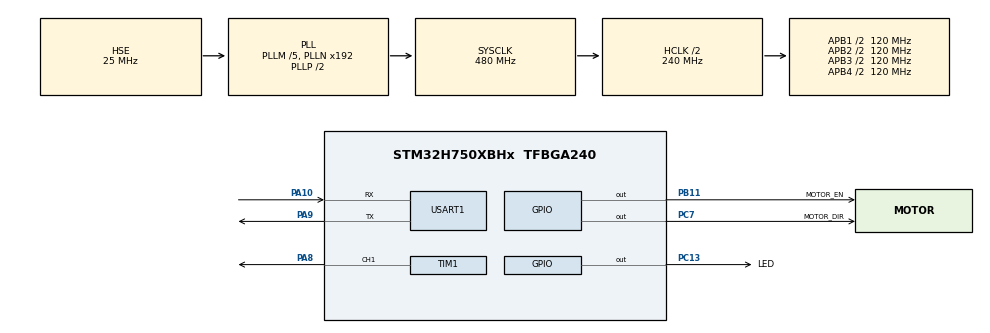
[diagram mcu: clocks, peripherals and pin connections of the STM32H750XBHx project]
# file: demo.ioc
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CORTEX_M7.default_mode_Activation=1
Mcu.Family=STM32H7
Mcu.Name=STM32H750XBHx
Mcu.Package=TFBGA240
NVIC.PriorityGroup=NVIC_PRIORITYGROUP_4
NVIC.TIM1_CC_IRQn=true\:0\:0\:false\:false\:true\:true\:true\:true
PA10.Mode=Asynchronous
PA10.Signal=USART1_RX
PA13\ (JTMS/SWDIO).Mode=Serial_Wire
PA13\ (JTMS/SWDIO).Signal=DEBUG_JTMS-SWDIO
PA14\ (JTCK/SWCLK).Mode=Serial_Wire
PA14\ (JTCK/SWCLK).Signal=DEBUG_JTCK-SWCLK
PA8.Signal=S_TIM1_CH1
PA9.Mode=Asynchronous
PA9.Signal=USART1_TX
PB11.GPIO_Label=MOTOR_EN
PB11.Signal=GPIO_Output
PC13.GPIO_Label=LED
PC13.GPIO_PuPd=GPIO_PULLUP
PC13.PinState=GPIO_PIN_SET
PC13.Signal=GPIO_Output
PC7.GPIO_Label=MOTOR_DIR
PC7.Signal=GPIO_Output
PH0-OSC_IN\ (PH0).Mode=HSE-External-Oscillator
PH0-OSC_IN\ (PH0).Signal=RCC_OSC_IN
PH1-OSC_OUT\ (PH1).Mode=HSE-External-Oscillator
PH1-OSC_OUT\ (PH1).Signal=RCC_OSC_OUT
ProjectManager.HeapSize=0x200
ProjectManager.StackSize=0x400
ProjectManager.TargetToolchain=MDK-ARM V5.32
RCC.ADCFreq_Value=50390625
RCC.APB1Freq_Value=120000000
RCC.APB2Freq_Value=120000000
RCC.APB3Freq_Value=120000000
RCC.APB4Freq_Value=120000000
RCC.CortexFreq_Value=480000000
RCC.D1PPRE=RCC_APB3_DIV2
RCC.D2PPRE1=RCC_APB1_DIV2
RCC.D2PPRE2=RCC_APB2_DIV2
RCC.D3PPRE=RCC_APB4_DIV2
RCC.DIVM1=5
RCC.DIVN1=192
RCC.HCLKFreq_Value=240000000
RCC.HPRE=RCC_HCLK_DIV2
RCC.PLL2FRACN=0
RCC.PLL3FRACN=0
RCC.PLLFRACN=0
RCC.PLLSourceVirtual=RCC_PLLSOURCE_HSE
RCC.PWR_Regulator_Voltage_Scale=PWR_REGULATOR_VOLTAGE_SCALE0
RCC.SYSCLKFreq_VALUE=480000000
RCC.SYSCLKSource=RCC_SYSCLKSOURCE_PLLCLK
RCC.USBFreq_Value=480000000
SH.S_TIM1_CH1.0=TIM1_CH1,Output Compare1 CH1
TIM1.AutoReloadPreload=TIM_AUTORELOAD_PRELOAD_ENABLE
TIM1.Channel-Output\ Compare1\ CH1=TIM_CHANNEL_1
TIM1.OCMode_1=TIM_OCMODE_TOGGLE
TIM1.Period=0xFFFF-1
TIM1.Prescaler=240-1
USART1.VirtualMode-Asynchronous=VM_ASYNC
board=custom

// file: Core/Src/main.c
/* USER CODE BEGIN Header */
/**
 ******************************************************************************
 * @file           : main.c
 * @brief          : Main program body
 ******************************************************************************
 * @attention
 *
 * Copyright (c) 2023 STMicroelectronics.
 * All rights reserved.
 *
 * This software is licensed under terms that can be found in the LICENSE file
 * in the root directory of this software component.
 * If no LICENSE file comes with this software, it is provided AS-IS.
 *
 ******************************************************************************
 */
/* USER CODE END Header */
#include "main.h"
#include "tim.h"
#include "usart.h"
#include "gpio.h"

/* USER CODE BEGIN Includes */
#include "bsp.h"
/* USER CODE END Includes */

/* USER CODE BEGIN PV */

#define STEPPER_ENABLE()    HAL_GPIO_WritePin(MOTOR_EN_GPIO_Port, MOTOR_EN_Pin, GPIO_PIN_RESET)
#define STEPPER_DISABLE()   HAL_GPIO_WritePin(MOTOR_EN_GPIO_Port, MOTOR_EN_Pin, GPIO_PIN_SET)

#define STEPPER_DIR_CW()    HAL_GPIO_WritePin(MOTOR_DIR_GPIO_Port, MOTOR_DIR_Pin, GPIO_PIN_SET)
#define STEPPER_DIR_CCW()   HAL_GPIO_WritePin(MOTOR_DIR_GPIO_Port, MOTOR_DIR_Pin, GPIO_PIN_RESET)

#define STEPPER_PWM_START() HAL_TIM_PWM_Start_IT(&htim1, TIM_CHANNEL_1)
#define STEPPER_PWM_STOP()  HAL_TIM_PWM_Stop_IT(&htim1, TIM_CHANNEL_1)

void MotorDemo(uint32_t ms)
{
    STEPPER_ENABLE();
    STEPPER_PWM_START();

    STEPPER_DIR_CW();
    HAL_Delay(ms);
    STEPPER_DIR_CCW();
    HAL_Delay(ms);

    STEPPER_PWM_STOP();
    STEPPER_DISABLE();
}

/* USER CODE END PV */

void        SystemClock_Config(void);
static void MPU_Config(void);

/* USER CODE BEGIN 0 */

void HAL_TIM_OC_DelayElapsedCallback(TIM_HandleTypeDef* htim)
{
	  // invert output level when entering this function
	  // pulse count = times of entering this function / 2

	  uint16_t SpeedAdjust = 50;
    __HAL_TIM_SET_COMPARE(htim, TIM_CHANNEL_1, (__HAL_TIM_GET_COUNTER(htim) + SpeedAdjust) % (htim->Init.Period + 1));

}

/* USER CODE END 0 */

int main(void)
{

    /* MPU Configuration--------------------------------------------------------*/
    MPU_Config();

    /* MCU Configuration--------------------------------------------------------*/

    /* Reset of all peripherals, Initializes the Flash interface and the Systick. */
    HAL_Init();

    /* Configure the system clock */
    SystemClock_Config();

    /* Initialize all configured peripherals */
    MX_GPIO_Init();
    MX_USART1_UART_Init();
    MX_TIM1_Init();
    /* USER CODE BEGIN 2 */
    MotorDemo(8000);
    /* USER CODE END 2 */

    /* Infinite loop */
    /* USER CODE BEGIN WHILE */

    while (1)
    {
        LED_ON();
        HAL_Delay(500);
        LED_OFF();
        HAL_Delay(500);
        /* USER CODE END WHILE */

    }
}

void SystemClock_Config(void)
{
    RCC_OscInitTypeDef RCC_OscInitStruct = {0};
    RCC_ClkInitTypeDef RCC_ClkInitStruct = {0};

    /** Supply configuration update enable
     */
    HAL_PWREx_ConfigSupply(PWR_LDO_SUPPLY);

    /** Configure the main internal regulator output voltage
     */
    __HAL_PWR_VOLTAGESCALING_CONFIG(PWR_REGULATOR_VOLTAGE_SCALE1);

    while (!__HAL_PWR_GET_FLAG(PWR_FLAG_VOSRDY)) {}

    __HAL_RCC_SYSCFG_CLK_ENABLE();
    __HAL_PWR_VOLTAGESCALING_CONFIG(PWR_REGULATOR_VOLTAGE_SCALE0);

    while (!__HAL_PWR_GET_FLAG(PWR_FLAG_VOSRDY)) {}

    /** Initializes the RCC Oscillators according to the specified parameters
     * in the RCC_OscInitTypeDef structure.
     */
    RCC_OscInitStruct.OscillatorType = RCC_OSCILLATORTYPE_HSE;
    RCC_OscInitStruct.HSEState       = RCC_HSE_ON;
    RCC_OscInitStruct.PLL.PLLState   = RCC_PLL_ON;
    RCC_OscInitStruct.PLL.PLLSource  = RCC_PLLSOURCE_HSE;
    RCC_OscInitStruct.PLL.PLLM       = 5;
    RCC_OscInitStruct.PLL.PLLN       = 192;
    RCC_OscInitStruct.PLL.PLLP       = 2;
    RCC_OscInitStruct.PLL.PLLQ       = 2;
    RCC_OscInitStruct.PLL.PLLR       = 2;
    RCC_OscInitStruct.PLL.PLLRGE     = RCC_PLL1VCIRANGE_2;
    RCC_OscInitStruct.PLL.PLLVCOSEL  = RCC_PLL1VCOWIDE;
    RCC_OscInitStruct.PLL.PLLFRACN   = 0;
    if (HAL_RCC_OscConfig(&RCC_OscInitStruct) != HAL_OK)
    {
        Error_Handler();
    }

    /** Initializes the CPU, AHB and APB buses clocks
     */
    RCC_ClkInitStruct.ClockType      = RCC_CLOCKTYPE_HCLK | RCC_CLOCKTYPE_SYSCLK | RCC_CLOCKTYPE_PCLK1 | RCC_CLOCKTYPE_PCLK2 | RCC_CLOCKTYPE_D3PCLK1 | RCC_CLOCKTYPE_D1PCLK1;
    RCC_ClkInitStruct.SYSCLKSource   = RCC_SYSCLKSOURCE_PLLCLK;
    RCC_ClkInitStruct.SYSCLKDivider  = RCC_SYSCLK_DIV1;
    RCC_ClkInitStruct.AHBCLKDivider  = RCC_HCLK_DIV2;
    RCC_ClkInitStruct.APB3CLKDivider = RCC_APB3_DIV2;
    RCC_ClkInitStruct.APB1CLKDivider = RCC_APB1_DIV2;
    RCC_ClkInitStruct.APB2CLKDivider = RCC_APB2_DIV2;
    RCC_ClkInitStruct.APB4CLKDivider = RCC_APB4_DIV2;

    if (HAL_RCC_ClockConfig(&RCC_ClkInitStruct, FLASH_LATENCY_4) != HAL_OK)
    {
        Error_Handler();
    }
}

/* MPU Configuration */

void MPU_Config(void)
{
    MPU_Region_InitTypeDef MPU_InitStruct = {0};

    /* Disables the MPU */
    HAL_MPU_Disable();

    /** Initializes and configures the Region and the memory to be protected
     */
    MPU_InitStruct.Enable           = MPU_REGION_ENABLE;
    MPU_InitStruct.Number           = MPU_REGION_NUMBER0;
    MPU_InitStruct.BaseAddress      = 0x0;
    MPU_InitStruct.Size             = MPU_REGION_SIZE_4GB;
    MPU_InitStruct.SubRegionDisable = 0x87;
    MPU_InitStruct.TypeExtField     = MPU_TEX_LEVEL0;
    MPU_InitStruct.AccessPermission = MPU_REGION_NO_ACCESS;
    MPU_InitStruct.DisableExec      = MPU_INSTRUCTION_ACCESS_DISABLE;
    MPU_InitStruct.IsShareable      = MPU_ACCESS_SHAREABLE;
    MPU_InitStruct.IsCacheable      = MPU_ACCESS_NOT_CACHEABLE;
    MPU_InitStruct.IsBufferable     = MPU_ACCESS_NOT_BUFFERABLE;

    HAL_MPU_ConfigRegion(&MPU_InitStruct);
    /* Enables the MPU */
    HAL_MPU_Enable(MPU_PRIVILEGED_DEFAULT);
}

void Error_Handler(void)
{
    __disable_irq();
    while (1)
    {
    }
}
